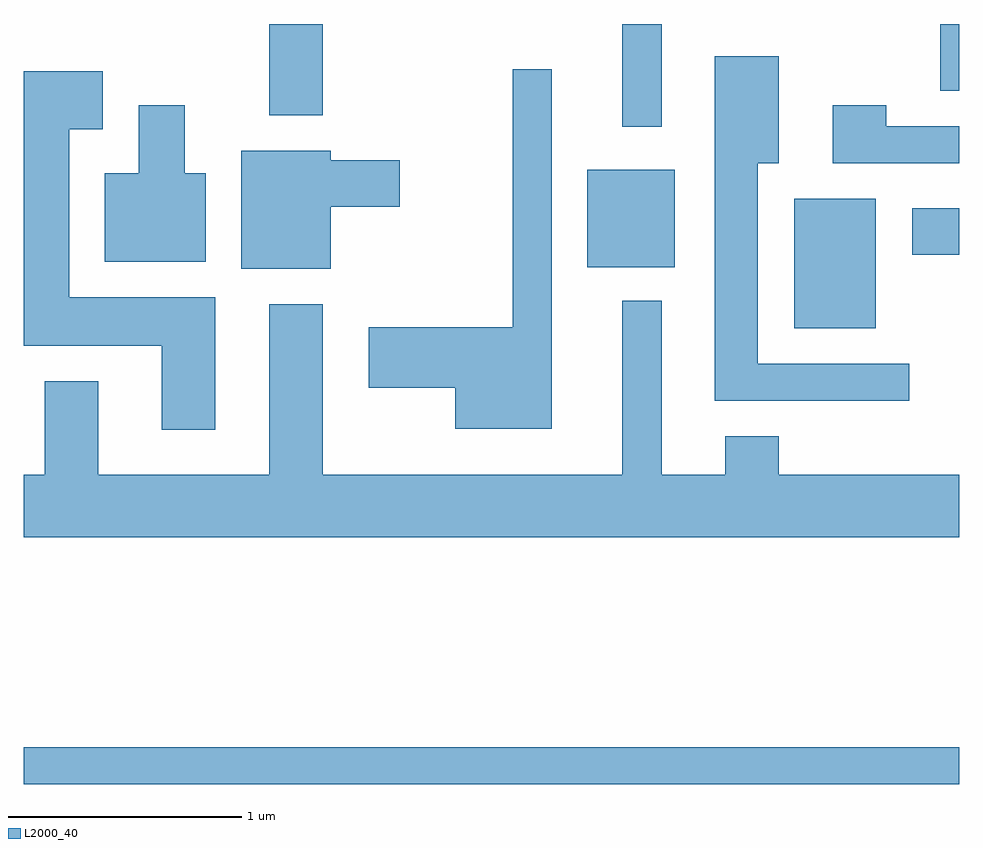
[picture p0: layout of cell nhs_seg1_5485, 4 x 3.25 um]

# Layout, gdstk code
import gdstk
lib = gdstk.Library(unit=1e-6, precision=1e-09)
def R(c, l, rs):  # rectangles x0, y0, x1, y1
    for r in rs: c.add(gdstk.rectangle(r[:2], r[2:], *l))
def P(c, l, *ps):  # polygons
    for p in ps: c.add(gdstk.Polygon(p, *l))
L2000_40 = (2000, 40)

nhs_seg1_5485 = lib.new_cell('nhs_seg1_5485')
R(nhs_seg1_5485, L2000_40, [(349.611,958.461,353.611,958.619), (352.906,960.411,353.254,960.964), (352.021,960.671,352.394,961.089), (353.411,960.726,353.611,960.924), (352.171,961.273,352.339,961.712), (350.661,961.321,350.889,961.712), (353.531,961.426,353.611,961.712)])
P(nhs_seg1_5485, L2000_40, [(353.398,960.259),(352.749,960.259),(352.749,961.116),(352.839,961.116),(352.839,961.574),(352.566,961.574),(352.566,960.101),(353.398,960.101)],
  [(351.869,961.518),(351.701,961.518),(351.701,960.414),(351.086,960.414),(351.086,960.156),(351.456,960.156),(351.456,959.981),(351.869,959.981)],
  [(350.429,960.544),(349.804,960.544),(349.804,961.261),(349.949,961.261),(349.949,961.509),(349.611,961.509),(349.611,960.336),(350.201,960.336),(350.201,959.976),(350.429,959.976)],
  [(353.611,961.274),(353.299,961.274),(353.299,961.364),(353.071,961.364),(353.071,961.116),(353.611,961.116)],
  [(350.389,961.074),(350.299,961.074),(350.299,961.364),(350.101,961.364),(350.101,961.074),(349.956,961.074),(349.956,960.696),(350.389,960.696)],
  [(350.924,960.931),(351.219,960.931),(351.219,961.129),(350.924,961.129),(350.924,961.169),(350.541,961.169),(350.541,960.666),(350.924,960.666)],
  [(353.611,959.784),(352.839,959.784),(352.839,959.949),(352.611,959.949),(352.611,959.784),(352.339,959.784),(352.339,960.528),(352.171,960.528),(352.171,959.784),(350.889,959.784),(350.889,960.514),(350.661,960.514),(350.661,959.784),(349.929,959.784),(349.929,960.184),(349.701,960.184),(349.701,959.784),(349.611,959.784),(349.611,959.516),(353.611,959.516)])

lib.write_gds('nhs_seg1_5485.gds')
